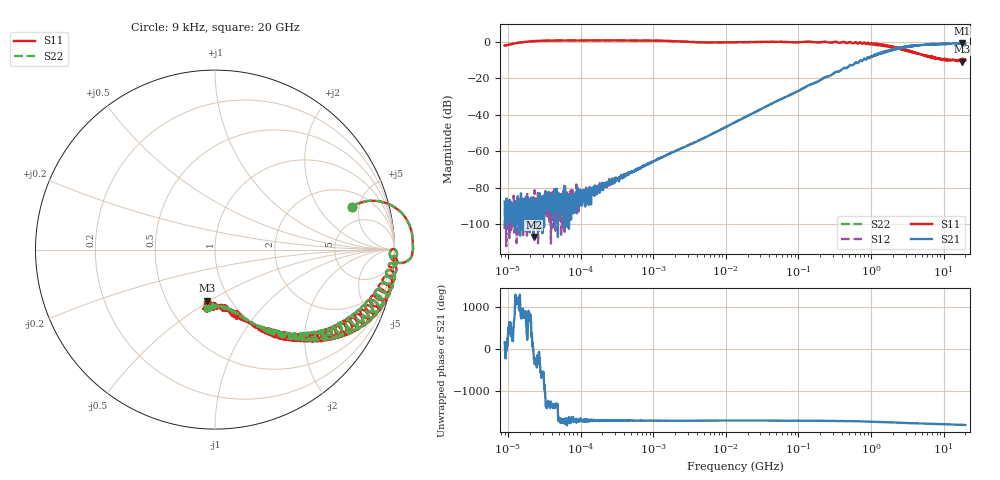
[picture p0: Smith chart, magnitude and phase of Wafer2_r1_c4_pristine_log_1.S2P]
!  2-Port S-parameters saved by WinCal
! VAR MeasName=S-Parameters (CALIBRATED_DATA) read from VNA (P5004A)
! VAR MeasDate=26/04/2024 18:14:54
! VAR NAME=Wafer2_r1_c4_pristine_log
! VAR FILENAME=Wafer2_r1_c4_pristine_log_1.S2P
! VAR DATE=26/04/2024 18:14:54
! VAR PHYS_PORTS=1,2
! VAR ObjTypeName=DATASET
! VAR IndexType=Frequency
# Hz S MA R 50
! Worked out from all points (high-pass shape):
!   2000 points, 9 kHz to 20 GHz, reference 50 ohm
!   highest |S21| = -0.64 dB at 18.05 GHz (marker M1); lowest = -107.1 dB at 22.61 kHz (marker M2)
!   |S21| within 3 dB of the highest: 2.261 GHz to 2.315 GHz (54.54 MHz wide, 2.38 % of centre); 2.348 GHz to end of sweep (the widest 2 of 3)
!   lowest |S11| = -10.8 dB at 18.19 GHz (marker M3), VSWR 1.80, Z = 39.3 - j24.3 ohm
!   |S11| at or under -10 dB: 12.23 GHz to 12.84 GHz (610.3 MHz wide, 4.87 % of centre); 14.39 GHz to 15.18 GHz (786.3 MHz wide, 5.32 % of centre); 15.45 GHz to 15.92 GHz (472 MHz wide, 3.01 % of centre) (the widest 3 of 15)
!   |S22| runs from -10.5 to 0.9 dB; largest |S21 - S12| = 0.037
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9000  0.7977 17.3  4.15e-05 154.3  7.285e-06 -30.0  0.7977 17.3
13356.46  0.9406 16.7  3.787e-05 21.6  1.041e-05 31.6  0.9406 16.7
22609.46  1.058 11.3  4.428e-06 -143.3  2.791e-05 98.8  1.058 11.3
103439.5  1.102 2.1  7.885e-05 89.0  6.072e-05 116.5  1.102 2.1
173824.1  1.103 1.1  0.0001061 85.4  0.000106 75.9  1.103 1.1
214874.2  1.103 0.7  0.0001187 96.5  0.0001243 95.1  1.103 0.7
1180198  1.09 -2.6  0.0006129 86.2  0.0006184 87.2  1.09 -2.6
4530556  0.9808 -2.6  0.002094 86.7  0.002122 86.5  0.9807 -2.6
1.346554e7  0.986 0.1  0.006259 89.3  0.006302 88.5  0.9861 0.1
1.105652e8  0.9951 -2.1  0.05035 86.4  0.05068 86.0  0.9947 -2.1
1.536358e8  1 -5.6  0.07066 82.6  0.06993 82.8  1.001 -5.5
2.966476e8  0.9821 -6.7  0.1312 81.3  0.1324 81.2  0.982 -6.6
7.506948e8  0.8963 -20.9  0.2988 66.2  0.298 66.4  0.898 -20.6
1.043128e9  0.8532 -27.9  0.3901 58.7  0.3902 58.8  0.8548 -27.6
1.752917e9  0.7425 -37.4  0.5555 48.0  0.5583 47.9  0.7421 -37.1
2.945676e9  0.6005 -50.3  0.7197 33.2  0.7261 33.2  0.6031 -50.0
5.646226e9  0.425 -66.9  0.8436 14.8  0.8484 14.5  0.4232 -66.3
9.488158e9  0.3382 -81.0  0.8891 1.5  0.8791 1.3  0.3366 -77.1
1.347662e10  0.3309 -87.9  0.9232 -6.0  0.9188 -6.8  0.3144 -86.7
1.805428e10  0.3463 -98.3  0.9288 -14.8  0.902 -16.3  0.2996 -93.0
1.818676e10  0.2869 -98.6  0.8834 -16.5  0.8715 -14.2  0.3285 -91.6
2e10  0.3087 -97.9  0.8877 -17.3  0.9014 -16.6  0.3301 -97.4
